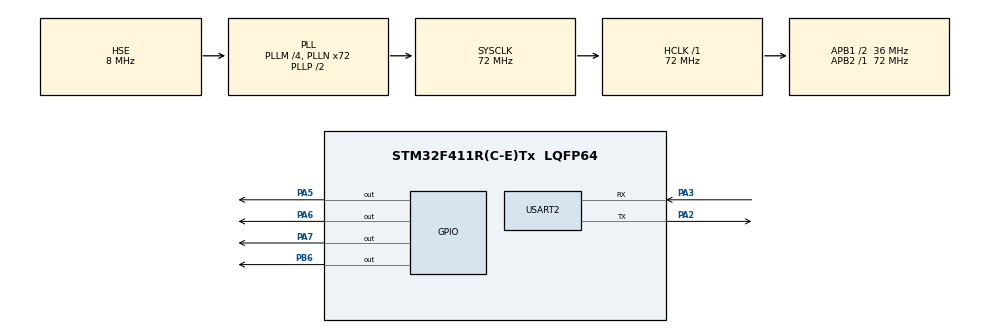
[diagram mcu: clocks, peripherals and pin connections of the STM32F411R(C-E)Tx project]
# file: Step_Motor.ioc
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Dma.Request0=USART2_RX
Dma.USART2_RX.0.Direction=DMA_PERIPH_TO_MEMORY
Dma.USART2_RX.0.FIFOMode=DMA_FIFOMODE_DISABLE
Dma.USART2_RX.0.Instance=DMA1_Stream5
Dma.USART2_RX.0.MemDataAlignment=DMA_MDATAALIGN_BYTE
Dma.USART2_RX.0.MemInc=DMA_MINC_ENABLE
Dma.USART2_RX.0.Mode=DMA_CIRCULAR
Dma.USART2_RX.0.PeriphDataAlignment=DMA_PDATAALIGN_BYTE
Dma.USART2_RX.0.PeriphInc=DMA_PINC_DISABLE
Dma.USART2_RX.0.Priority=DMA_PRIORITY_LOW
Mcu.Family=STM32F4
Mcu.Name=STM32F411R(C-E)Tx
Mcu.Package=LQFP64
NVIC.DMA1_Stream5_IRQn=true\:0\:0\:false\:false\:true\:false\:true\:true
NVIC.PriorityGroup=NVIC_PRIORITYGROUP_4
NVIC.USART2_IRQn=true\:0\:0\:false\:false\:true\:true\:true\:true
PA13.Mode=Serial_Wire
PA13.Signal=SYS_JTMS-SWDIO
PA14.Mode=Serial_Wire
PA14.Signal=SYS_JTCK-SWCLK
PA2.Mode=Asynchronous
PA2.Signal=USART2_TX
PA3.Mode=Asynchronous
PA3.Signal=USART2_RX
PA5.Signal=GPIO_Output
PA6.Signal=GPIO_Output
PA7.Signal=GPIO_Output
PB6.Signal=GPIO_Output
PH0\ -\ OSC_IN.Mode=HSE-External-Oscillator
PH0\ -\ OSC_IN.Signal=RCC_OSC_IN
PH1\ -\ OSC_OUT.Mode=HSE-External-Oscillator
PH1\ -\ OSC_OUT.Signal=RCC_OSC_OUT
ProjectManager.HeapSize=0x200
ProjectManager.StackSize=0x400
ProjectManager.TargetToolchain=STM32CubeIDE
RCC.48MHZClocksFreq_Value=36000000
RCC.AHBFreq_Value=72000000
RCC.APB1CLKDivider=RCC_HCLK_DIV2
RCC.APB1Freq_Value=36000000
RCC.APB1TimFreq_Value=72000000
RCC.APB2Freq_Value=72000000
RCC.APB2TimFreq_Value=72000000
RCC.CortexFreq_Value=72000000
RCC.HCLKFreq_Value=72000000
RCC.HSE_VALUE=8000000
RCC.HSI_VALUE=16000000
RCC.LSE_VALUE=32768
RCC.PLLM=4
RCC.PLLN=72
RCC.PLLSourceVirtual=RCC_PLLSOURCE_HSE
RCC.SYSCLKFreq_VALUE=72000000
RCC.SYSCLKSource=RCC_SYSCLKSOURCE_PLLCLK
RCC.VCOOutputFreq_Value=144000000
TIM10.Prescaler=100-1
TIM2.Prescaler=72-1
TIM3.Prescaler=72-1
USART2.VirtualMode=VM_ASYNC
VP_TIM10_VS_ClockSourceINT.Mode=Enable_Timer
VP_TIM2_VS_ClockSourceINT.Mode=Internal
VP_TIM3_VS_ClockSourceINT.Mode=Internal
board=custom

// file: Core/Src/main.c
/* USER CODE BEGIN Header */
/**
  ******************************************************************************
  * @file           : main.c
  * @brief          : Main program body
  ******************************************************************************
  * @attention
  *
  * Copyright (c) 2023 STMicroelectronics.
  * All rights reserved.
  *
  * This software is licensed under terms that can be found in the LICENSE file
  * in the root directory of this software component.
  * If no LICENSE file comes with this software, it is provided AS-IS.
  *
  ******************************************************************************
  */
/* USER CODE END Header */
#include "main.h"
#include "dma.h"
#include "tim.h"
#include "usart.h"
#include "gpio.h"

/* USER CODE BEGIN Includes */
#include "stepper.h"
#include "stdlib.h"
/* USER CODE END Includes */

/* USER CODE BEGIN PV */
uint8_t rxData[1];
uint8_t buffer[10];
uint8_t buffer_index=0;
/* USER CODE END PV */

void SystemClock_Config(void);
/* USER CODE BEGIN PFP */
void HAL_UART_RxCpltCallback(UART_HandleTypeDef *huart)
{

  if(rxData[0]=='\n')
  {
    buffer[buffer_index++]='\n';
    buffer[buffer_index++]='\0';
    buffer_index=0;
    int a = atoi(buffer);
    if(a<0)
    {
      int temp = (int)((((float)a)/360 *4096)*-1);
      for(int i=temp; i>=0; i--)
      {
        stepMotorHalfDrive(i);
        stepMotorSpeed(10);
      }
    }
    else
    {
      int temp = (int)(((float)a)/360 *4096);
      for(int i = 0; i<temp; i++)
      {
        stepMotorHalfDrive(i);
        stepMotorSpeed(10);
      }
    }
    HAL_UART_Transmit(&huart2, buffer,strlen(buffer),100);
  }else
    buffer[buffer_index++]=rxData[0];
  HAL_UART_Receive_IT(&huart2,rxData, 1);
}
/* USER CODE END PFP */

int main(void)
{

  /* MCU Configuration--------------------------------------------------------*/

  /* Reset of all peripherals, Initializes the Flash interface and the Systick. */
  HAL_Init();

  /* Configure the system clock */
  SystemClock_Config();

  /* Initialize all configured peripherals */
  MX_GPIO_Init();
  MX_DMA_Init();
  MX_TIM2_Init();
  MX_TIM3_Init();
  MX_TIM10_Init();
  MX_USART2_UART_Init();
  /* USER CODE BEGIN 2 */
  HAL_TIM_Base_Start(&htim10);
  HAL_UART_Receive_IT(&huart2, rxData, 1);
//  for(int i =0; i<8; i++)
//     {
//       stepMotorHalfDrive(i);
//       stepMotorSpeed(10);
//     }
  /* USER CODE END 2 */

  /* Infinite loop */
  while (1)
  {

    /* USER CODE BEGIN 3 */
//    if (rxData[0]=='a'){
//      for(int i =0; i<4096; i++)
//      {
//        stepMotorHalfDrive(i);
//        stepMotorSpeed(10);
//      }
//    }
//    if (rxData[0]=='b'){
//          for(int i=4096; i>=0; i--)
//          {
//            stepMotorHalfDrive(i);
//            stepMotorSpeed(10);
//          }
//        }
  }
  /* USER CODE END 3 */
}

void SystemClock_Config(void)
{
  RCC_OscInitTypeDef RCC_OscInitStruct = {0};
  RCC_ClkInitTypeDef RCC_ClkInitStruct = {0};

  /** Configure the main internal regulator output voltage
  */
  __HAL_RCC_PWR_CLK_ENABLE();
  __HAL_PWR_VOLTAGESCALING_CONFIG(PWR_REGULATOR_VOLTAGE_SCALE1);

  /** Initializes the RCC Oscillators according to the specified parameters
  * in the RCC_OscInitTypeDef structure.
  */
  RCC_OscInitStruct.OscillatorType = RCC_OSCILLATORTYPE_HSE;
  RCC_OscInitStruct.HSEState = RCC_HSE_ON;
  RCC_OscInitStruct.PLL.PLLState = RCC_PLL_ON;
  RCC_OscInitStruct.PLL.PLLSource = RCC_PLLSOURCE_HSE;
  RCC_OscInitStruct.PLL.PLLM = 4;
  RCC_OscInitStruct.PLL.PLLN = 72;
  RCC_OscInitStruct.PLL.PLLP = RCC_PLLP_DIV2;
  RCC_OscInitStruct.PLL.PLLQ = 4;
  if (HAL_RCC_OscConfig(&RCC_OscInitStruct) != HAL_OK)
  {
    Error_Handler();
  }

  /** Initializes the CPU, AHB and APB buses clocks
  */
  RCC_ClkInitStruct.ClockType = RCC_CLOCKTYPE_HCLK|RCC_CLOCKTYPE_SYSCLK
                              |RCC_CLOCKTYPE_PCLK1|RCC_CLOCKTYPE_PCLK2;
  RCC_ClkInitStruct.SYSCLKSource = RCC_SYSCLKSOURCE_PLLCLK;
  RCC_ClkInitStruct.AHBCLKDivider = RCC_SYSCLK_DIV1;
  RCC_ClkInitStruct.APB1CLKDivider = RCC_HCLK_DIV2;
  RCC_ClkInitStruct.APB2CLKDivider = RCC_HCLK_DIV1;

  if (HAL_RCC_ClockConfig(&RCC_ClkInitStruct, FLASH_LATENCY_2) != HAL_OK)
  {
    Error_Handler();
  }
}

void Error_Handler(void)
{
  __disable_irq();
  while (1)
  {
  }
}
